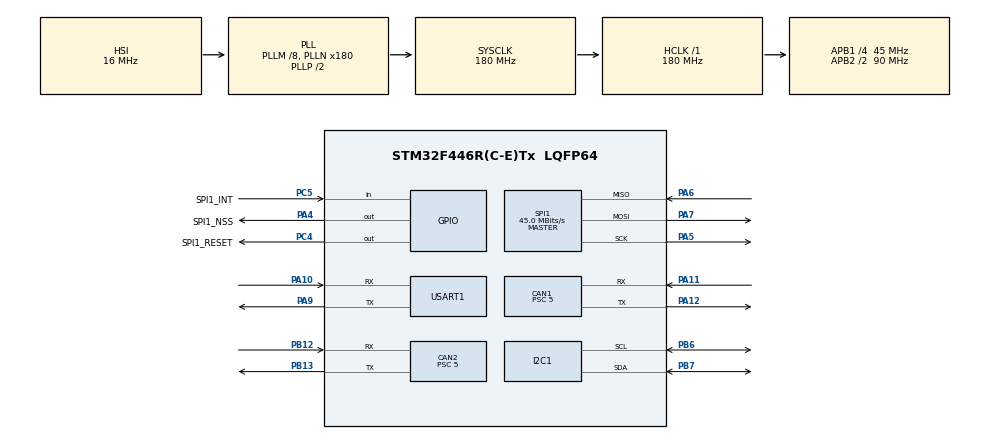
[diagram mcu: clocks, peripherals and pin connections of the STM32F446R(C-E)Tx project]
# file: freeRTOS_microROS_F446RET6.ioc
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CAN1.ABOM=ENABLE
CAN1.AWUM=ENABLE
CAN1.BS1=CAN_BS1_5TQ
CAN1.BS2=CAN_BS2_3TQ
CAN1.CalculateBaudRate=1000000
CAN1.CalculateTimeBit=1000
CAN1.CalculateTimeQuantum=111.11111111111111
CAN1.NART=DISABLE
CAN1.Prescaler=5
CAN1.RFLM=DISABLE
CAN1.SJW=CAN_SJW_4TQ
CAN2.ABOM=ENABLE
CAN2.AWUM=ENABLE
CAN2.BS1=CAN_BS1_5TQ
CAN2.BS2=CAN_BS2_3TQ
CAN2.CalculateBaudRate=1000000
CAN2.CalculateTimeBit=1000
CAN2.CalculateTimeQuantum=111.11111111111111
CAN2.Prescaler=5
CAN2.RFLM=DISABLE
CAN2.SJW=CAN_SJW_4TQ
Dma.I2C1_RX.3.Direction=DMA_PERIPH_TO_MEMORY
Dma.I2C1_RX.3.FIFOMode=DMA_FIFOMODE_DISABLE
Dma.I2C1_RX.3.Instance=DMA1_Stream0
Dma.I2C1_RX.3.MemDataAlignment=DMA_MDATAALIGN_BYTE
Dma.I2C1_RX.3.MemInc=DMA_MINC_ENABLE
Dma.I2C1_RX.3.Mode=DMA_CIRCULAR
Dma.I2C1_RX.3.PeriphDataAlignment=DMA_PDATAALIGN_BYTE
Dma.I2C1_RX.3.PeriphInc=DMA_PINC_DISABLE
Dma.I2C1_RX.3.Priority=DMA_PRIORITY_LOW
Dma.I2C1_TX.4.Direction=DMA_MEMORY_TO_PERIPH
Dma.I2C1_TX.4.FIFOMode=DMA_FIFOMODE_DISABLE
Dma.I2C1_TX.4.Instance=DMA1_Stream6
Dma.I2C1_TX.4.MemDataAlignment=DMA_MDATAALIGN_BYTE
Dma.I2C1_TX.4.MemInc=DMA_MINC_ENABLE
Dma.I2C1_TX.4.Mode=DMA_CIRCULAR
Dma.I2C1_TX.4.PeriphDataAlignment=DMA_PDATAALIGN_BYTE
Dma.I2C1_TX.4.PeriphInc=DMA_PINC_DISABLE
Dma.I2C1_TX.4.Priority=DMA_PRIORITY_LOW
Dma.Request0=SPI1_RX
Dma.Request1=SPI1_TX
Dma.Request2=USART1_RX
Dma.Request3=I2C1_RX
Dma.Request4=I2C1_TX
Dma.SPI1_RX.0.Direction=DMA_PERIPH_TO_MEMORY
Dma.SPI1_RX.0.FIFOMode=DMA_FIFOMODE_DISABLE
Dma.SPI1_RX.0.Instance=DMA2_Stream0
Dma.SPI1_RX.0.MemDataAlignment=DMA_MDATAALIGN_BYTE
Dma.SPI1_RX.0.MemInc=DMA_MINC_ENABLE
Dma.SPI1_RX.0.Mode=DMA_NORMAL
Dma.SPI1_RX.0.PeriphDataAlignment=DMA_PDATAALIGN_BYTE
Dma.SPI1_RX.0.PeriphInc=DMA_PINC_DISABLE
Dma.SPI1_RX.0.Priority=DMA_PRIORITY_VERY_HIGH
Dma.SPI1_TX.1.Direction=DMA_MEMORY_TO_PERIPH
Dma.SPI1_TX.1.FIFOMode=DMA_FIFOMODE_DISABLE
Dma.SPI1_TX.1.Instance=DMA2_Stream3
Dma.SPI1_TX.1.MemDataAlignment=DMA_MDATAALIGN_BYTE
Dma.SPI1_TX.1.MemInc=DMA_MINC_ENABLE
Dma.SPI1_TX.1.Mode=DMA_NORMAL
Dma.SPI1_TX.1.PeriphDataAlignment=DMA_PDATAALIGN_BYTE
Dma.SPI1_TX.1.PeriphInc=DMA_PINC_DISABLE
Dma.SPI1_TX.1.Priority=DMA_PRIORITY_VERY_HIGH
Dma.USART1_RX.2.Direction=DMA_PERIPH_TO_MEMORY
Dma.USART1_RX.2.FIFOMode=DMA_FIFOMODE_DISABLE
Dma.USART1_RX.2.Instance=DMA2_Stream2
Dma.USART1_RX.2.MemDataAlignment=DMA_MDATAALIGN_BYTE
Dma.USART1_RX.2.MemInc=DMA_MINC_ENABLE
Dma.USART1_RX.2.Mode=DMA_CIRCULAR
Dma.USART1_RX.2.PeriphDataAlignment=DMA_PDATAALIGN_BYTE
Dma.USART1_RX.2.PeriphInc=DMA_PINC_DISABLE
Dma.USART1_RX.2.Priority=DMA_PRIORITY_MEDIUM
FREERTOS.Tasks01=nulltask,24,128,StartNullTask,Default,NULL,Dynamic,NULL,NULL
FREERTOS.configENABLE_FPU=1
FREERTOS.configUSE_NEWLIB_REENTRANT=1
Mcu.Family=STM32F4
Mcu.Name=STM32F446R(C-E)Tx
Mcu.Package=LQFP64
NVIC.CAN1_RX0_IRQn=true\:5\:0\:false\:false\:true\:true\:true\:true\:true
NVIC.CAN1_RX1_IRQn=true\:5\:0\:false\:false\:true\:true\:true\:true\:true
NVIC.CAN1_SCE_IRQn=true\:5\:0\:false\:false\:true\:true\:true\:true\:true
NVIC.CAN1_TX_IRQn=true\:5\:0\:false\:false\:true\:true\:true\:true\:true
NVIC.CAN2_RX0_IRQn=true\:5\:0\:false\:false\:true\:true\:true\:true\:true
NVIC.CAN2_RX1_IRQn=true\:5\:0\:false\:false\:true\:true\:true\:true\:true
NVIC.CAN2_SCE_IRQn=true\:5\:0\:false\:false\:true\:true\:true\:true\:true
NVIC.CAN2_TX_IRQn=true\:5\:0\:false\:false\:true\:true\:true\:true\:true
NVIC.DMA1_Stream0_IRQn=true\:5\:0\:false\:false\:true\:true\:false\:true\:true
NVIC.DMA1_Stream6_IRQn=true\:5\:0\:false\:false\:true\:true\:false\:true\:true
NVIC.DMA2_Stream0_IRQn=true\:5\:0\:false\:false\:true\:true\:false\:true\:true
NVIC.DMA2_Stream2_IRQn=true\:5\:0\:false\:false\:true\:true\:false\:true\:true
NVIC.DMA2_Stream3_IRQn=true\:5\:0\:false\:false\:true\:true\:false\:true\:true
NVIC.I2C1_ER_IRQn=true\:5\:0\:false\:false\:true\:true\:true\:true\:true
NVIC.I2C1_EV_IRQn=true\:5\:0\:false\:false\:true\:true\:true\:true\:true
NVIC.PriorityGroup=NVIC_PRIORITYGROUP_4
NVIC.SPI1_IRQn=true\:5\:0\:false\:false\:true\:true\:true\:true\:true
NVIC.TIM1_UP_TIM10_IRQn=true\:15\:0\:false\:false\:true\:false\:false\:true\:true
NVIC.TimeBase=TIM1_UP_TIM10_IRQn
NVIC.TimeBaseIP=TIM1
NVIC.USART1_IRQn=true\:5\:0\:false\:false\:true\:true\:false\:true\:true
PA10.Mode=Asynchronous
PA10.Signal=USART1_RX
PA11.Mode=CAN_Activate
PA11.Signal=CAN1_RX
PA12.Mode=CAN_Activate
PA12.Signal=CAN1_TX
PA13.Mode=Serial_Wire
PA13.Signal=SYS_JTMS-SWDIO
PA14.Mode=Serial_Wire
PA14.Signal=SYS_JTCK-SWCLK
PA4.GPIO_Label=SPI1_NSS
PA4.Signal=GPIO_Output
PA5.Mode=Full_Duplex_Master
PA5.Signal=SPI1_SCK
PA6.Mode=Full_Duplex_Master
PA6.Signal=SPI1_MISO
PA7.Mode=Full_Duplex_Master
PA7.Signal=SPI1_MOSI
PA9.Mode=Asynchronous
PA9.Signal=USART1_TX
PB12.Mode=CAN_Activate
PB12.Signal=CAN2_RX
PB13.Mode=CAN_Activate
PB13.Signal=CAN2_TX
PB6.Mode=I2C
PB6.Signal=I2C1_SCL
PB7.Mode=I2C
PB7.Signal=I2C1_SDA
PC4.GPIO_Label=SPI1_RESET
PC4.Signal=GPIO_Output
PC5.GPIO_Label=SPI1_INT
PC5.Signal=GPIO_Input
PH0-OSC_IN.Mode=HSE-External-Oscillator
PH0-OSC_IN.Signal=RCC_OSC_IN
PH1-OSC_OUT.Mode=HSE-External-Oscillator
PH1-OSC_OUT.Signal=RCC_OSC_OUT
ProjectManager.HeapSize=0x200
ProjectManager.StackSize=0x400
ProjectManager.TargetToolchain=STM32CubeIDE
RCC.AHBFreq_Value=180000000
RCC.APB1CLKDivider=RCC_HCLK_DIV4
RCC.APB1Freq_Value=45000000
RCC.APB1TimFreq_Value=90000000
RCC.APB2CLKDivider=RCC_HCLK_DIV2
RCC.APB2Freq_Value=90000000
RCC.APB2TimFreq_Value=180000000
RCC.CortexFreq_Value=180000000
RCC.HCLKFreq_Value=180000000
RCC.PLLM=8
RCC.PLLN=180
RCC.SYSCLKFreq_VALUE=180000000
RCC.SYSCLKSource=RCC_SYSCLKSOURCE_PLLCLK
RCC.USBFreq_Value=180000000
RCC.VCOOutputFreq_Value=360000000
SPI1.CalculateBaudRate=45.0 MBits/s
SPI1.Direction=SPI_DIRECTION_2LINES
SPI1.Mode=SPI_MODE_MASTER
SPI1.VirtualType=VM_MASTER
USART1.VirtualMode=VM_ASYNC
VP_CRC_VS_CRC.Mode=CRC_Activate
VP_FREERTOS_VS_CMSIS_V2.Mode=CMSIS_V2
VP_SYS_VS_tim1.Mode=TIM1
board=custom

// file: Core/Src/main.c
/* USER CODE BEGIN Header */
/**
 ******************************************************************************
 * @file           : main.c
 * @brief          : Main program body
 ******************************************************************************
 * @attention
 *
 * Copyright (c) 2025 STMicroelectronics.
 * All rights reserved.
 *
 * This software is licensed under terms that can be found in the LICENSE file
 * in the root directory of this software component.
 * If no LICENSE file comes with this software, it is provided AS-IS.
 *
 ******************************************************************************
 */
/* USER CODE END Header */
#include "main.h"
#include "cmsis_os.h"
#include "can.h"
#include "crc.h"
#include "dma.h"
#include "i2c.h"
#include "spi.h"
#include "usart.h"
#include "gpio.h"

/* USER CODE BEGIN Includes */
#include <string.h>
#include <stdlib.h>
#include <stdbool.h>
/* USER CODE END Includes */

void SystemClock_Config(void);
void MX_FREERTOS_Init(void);

/* USER CODE BEGIN 0 */
void SaveMotorToSlot(uint8_t motor_idx, uint8_t slot);
void LoadMotorFromSlot(uint8_t motor_idx, uint8_t slot);
void LoadAllCurrentSlots(void);
void SaveAllCurrentSlots(void);
void InitSlotsFromTemplate(void);
static MotorSlot_t slots[NUM_SLOTS][NUM_MOTORS];
static bool slot_initialized[NUM_SLOTS][NUM_MOTORS];

static const MotorSlot_t slot_template[NUM_SLOTS][NUM_MOTORS] =
		{
// slot 0 (Угол скорость ток)
				{
				/* motor 0 (1_1) */{ .kp_angle = 4000, .ki_angle = 4000,
						.kd_angle = 10, .kp_speed = 5, .ki_speed = 5, .kp_curr =
								50, .ki_curr = 3000, .obstacle = 0,
						.speed_limit = 127, .phase = 0, .set_zero = 0 },
				/* motor 1 (1_2) */{ .kp_angle = 4000, .ki_angle = 4000,
						.kd_angle = 10, .kp_speed = 5, .ki_speed = 5, .kp_curr =
								50, .ki_curr = 3000, .obstacle = 0,
						.speed_limit = 127, .phase = 0, .set_zero = 0 },
				/* motor 2 (2_1) */{ .kp_angle = 4000, .ki_angle = 4000,
						.kd_angle = 10, .kp_speed = 5, .ki_speed = 5, .kp_curr =
								50, .ki_curr = 3000, .obstacle = 0,
						.speed_limit = 127, .phase = 0, .set_zero = 0 },
				/* motor 3 (2_2) */{ .kp_angle = 4000, .ki_angle = 4000,
						.kd_angle = 10, .kp_speed = 5, .ki_speed = 5, .kp_curr =
								50, .ki_curr = 3000, .obstacle = 0,
						.speed_limit = 127, .phase = 0, .set_zero = 0 },
				/* motor 4 (3_1) */{ .kp_angle = 4000, .ki_angle = 4000,
						.kd_angle = 10, .kp_speed = 5, .ki_speed = 5, .kp_curr =
								50, .ki_curr = 3000, .obstacle = 0,
						.speed_limit = 127, .phase = 0, .set_zero = 0 },
				/* motor 5 (3_2) */{ .kp_angle = 4000, .ki_angle = 4000,
						.kd_angle = 10, .kp_speed = 5, .ki_speed = 5, .kp_curr =
								50, .ki_curr = 3000, .obstacle = 0,
						.speed_limit = 127, .phase = 0, .set_zero = 0 } },

				// slot 1 ((Угол скорость )
				{
				/* motor 0 (1_1) */{ .kp_angle = 1000, .ki_angle = 2000,
						.kd_angle = 1, .kp_speed = 1, .ki_speed = 1, .kp_curr =
								0, .ki_curr = 0, .obstacle = 0, .speed_limit =
								127, .phase = 0, .set_zero = 0 },
				/* motor 1 (1_2) */{ .kp_angle = 1000, .ki_angle = 2000,
						.kd_angle = 1, .kp_speed = 1, .ki_speed = 1, .kp_curr =
								0, .ki_curr = 0, .obstacle = 0, .speed_limit =
								127, .phase = 0, .set_zero = 0 },
				/* motor 2 (2_1) */{ .kp_angle = 1000, .ki_angle = 2000,
						.kd_angle = 1, .kp_speed = 1, .ki_speed = 1, .kp_curr =
								0, .ki_curr = 0, .obstacle = 0, .speed_limit =
								127, .phase = 0, .set_zero = 0 },
				/* motor 3 (2_2) */{ .kp_angle = 1000, .ki_angle = 2000,
						.kd_angle = 1, .kp_speed = 1, .ki_speed = 1, .kp_curr =
								0, .ki_curr = 0, .obstacle = 0, .speed_limit =
								127, .phase = 0, .set_zero = 0 },
				/* motor 4 (3_1) */{ .kp_angle = 1000, .ki_angle = 2000,
						.kd_angle = 1, .kp_speed = 1, .ki_speed = 1, .kp_curr =
								0, .ki_curr = 0, .obstacle = 0, .speed_limit =
								127, .phase = 0, .set_zero = 0 },
				/* motor 5 (3_2) */{ .kp_angle = 1000, .ki_angle = 2000,
						.kd_angle = 1, .kp_speed = 1, .ki_speed = 1, .kp_curr =
								0, .ki_curr = 0, .obstacle = 0, .speed_limit =
								127, .phase = 0, .set_zero = 0 } },
				// slot 2 ((Угол ток )
				{
				/* motor 0 (1_1) */{ .kp_angle = 100, .ki_angle = 400,
						.kd_angle = 1, .kp_speed = 0, .ki_speed = 0, .kp_curr =
								5, .ki_curr = 300, .obstacle = 0, .speed_limit =
								127, .phase = 0, .set_zero = 0 },
				/* motor 1 (1_2) */{ .kp_angle = 100, .ki_angle = 400,
						.kd_angle = 1, .kp_speed = 0, .ki_speed = 0, .kp_curr =
								5, .ki_curr = 300, .obstacle = 0, .speed_limit =
								127, .phase = 0, .set_zero = 0 },
				/* motor 2 (2_1) */{ .kp_angle = 100, .ki_angle = 400,
						.kd_angle = 1, .kp_speed = 0, .ki_speed = 0, .kp_curr =
								5, .ki_curr = 300, .obstacle = 0, .speed_limit =
								127, .phase = 0, .set_zero = 0 },
				/* motor 3 (2_2) */{ .kp_angle = 100, .ki_angle = 400,
						.kd_angle = 1, .kp_speed = 0, .ki_speed = 0, .kp_curr =
								5, .ki_curr = 300, .obstacle = 0, .speed_limit =
								127, .phase = 0, .set_zero = 0 },
				/* motor 4 (3_1) */{ .kp_angle = 100, .ki_angle = 400,
						.kd_angle = 1, .kp_speed = 0, .ki_speed = 0, .kp_curr =
								5, .ki_curr = 300, .obstacle = 0, .speed_limit =
								127, .phase = 0, .set_zero = 0 },
				/* motor 5 (3_2) */{ .kp_angle = 100, .ki_angle = 400,
						.kd_angle = 1, .kp_speed = 0, .ki_speed = 0, .kp_curr =
								5, .ki_curr = 300, .obstacle = 0, .speed_limit =
								127, .phase = 0, .set_zero = 0 } },
				// slot 3 ((Угол)
				{
				/* motor 0 (1_1) */{ .kp_angle = 400, .ki_angle = 4000,
						.kd_angle = 40, .kp_speed = 0, .ki_speed = 0, .kp_curr =
								0, .ki_curr = 0, .obstacle = 0, .speed_limit =
								127, .phase = 0, .set_zero = 0 },
				/* motor 1 (1_2) */{ .kp_angle = 400, .ki_angle = 4000,
						.kd_angle = 40, .kp_speed = 0, .ki_speed = 0, .kp_curr =
								0, .ki_curr = 0, .obstacle = 0, .speed_limit =
								127, .phase = 0, .set_zero = 0 },
				/* motor 2 (2_1) */{ .kp_angle = 400, .ki_angle = 4000,
						.kd_angle = 40, .kp_speed = 0, .ki_speed = 0, .kp_curr =
								0, .ki_curr = 0, .obstacle = 0, .speed_limit =
								127, .phase = 0, .set_zero = 0 },
				/* motor 3 (2_2) */{ .kp_angle = 400, .ki_angle = 4000,
						.kd_angle = 40, .kp_speed = 0, .ki_speed = 0, .kp_curr =
								0, .ki_curr = 0, .obstacle = 0, .speed_limit =
								127, .phase = 0, .set_zero = 0 },
				/* motor 4 (3_1) */{ .kp_angle = 400, .ki_angle = 4000,
						.kd_angle = 40, .kp_speed = 0, .ki_speed = 0, .kp_curr =
								0, .ki_curr = 0, .obstacle = 0, .speed_limit =
								127, .phase = 0, .set_zero = 0 },
				/* motor 5 (3_2) */{ .kp_angle = 400, .ki_angle = 4000,
						.kd_angle = 40, .kp_speed = 0, .ki_speed = 0, .kp_curr =
								0, .ki_curr = 0, .obstacle = 0, .speed_limit =
								127, .phase = 0, .set_zero = 0 } },
				// slot 4 ((Скорость ток)
				{
				/* motor 0 (1_1) */{ .kp_angle = 0, .ki_angle = 0,
						.kd_angle = 0, .kp_speed = 1, .ki_speed = 1, .kp_curr =
								5, .ki_curr = 300, .obstacle = 0, .speed_limit =
								127, .phase = 0, .set_zero = 0 },
				/* motor 1 (1_2) */{ .kp_angle = 0, .ki_angle = 0,
						.kd_angle = 0, .kp_speed = 1, .ki_speed = 1, .kp_curr =
								5, .ki_curr = 300, .obstacle = 0, .speed_limit =
								127, .phase = 0, .set_zero = 0 },
				/* motor 2 (2_1) */{ .kp_angle = 0, .ki_angle = 0,
						.kd_angle = 0, .kp_speed = 1, .ki_speed = 1, .kp_curr =
								5, .ki_curr = 300, .obstacle = 0, .speed_limit =
								127, .phase = 0, .set_zero = 0 },
				/* motor 3 (2_2) */{ .kp_angle = 0, .ki_angle = 0,
						.kd_angle = 0, .kp_speed = 1, .ki_speed = 1, .kp_curr =
								5, .ki_curr = 300, .obstacle = 0, .speed_limit =
								127, .phase = 0, .set_zero = 0 },
				/* motor 4 (3_1) */{ .kp_angle = 0, .ki_angle = 0,
						.kd_angle = 0, .kp_speed = 1, .ki_speed = 1, .kp_curr =
								5, .ki_curr = 300, .obstacle = 0, .speed_limit =
								127, .phase = 0, .set_zero = 0 },
				/* motor 5 (3_2) */{ .kp_angle = 0, .ki_angle = 0,
						.kd_angle = 0, .kp_speed = 1, .ki_speed = 1, .kp_curr =
								5, .ki_curr = 300, .obstacle = 0, .speed_limit =
								127, .phase = 0, .set_zero = 0 } },
				// slot 5 (Скорость)
				{
				/* motor 0 (1_1) */{ .kp_angle = 0, .ki_angle = 0,
						.kd_angle = 0, .kp_speed = 1, .ki_speed = 1, .kp_curr =
								0, .ki_curr = 0, .obstacle = 0, .speed_limit =
								127, .phase = 0, .set_zero = 0 },
				/* motor 1 (1_2) */{ .kp_angle = 0, .ki_angle = 0,
						.kd_angle = 0, .kp_speed = 1, .ki_speed = 1, .kp_curr =
								0, .ki_curr = 0, .obstacle = 0, .speed_limit =
								127, .phase = 0, .set_zero = 0 },
				/* motor 2 (2_1) */{ .kp_angle = 0, .ki_angle = 0,
						.kd_angle = 0, .kp_speed = 1, .ki_speed = 1, .kp_curr =
								0, .ki_curr = 0, .obstacle = 0, .speed_limit =
								127, .phase = 0, .set_zero = 0 },
				/* motor 3 (2_2) */{ .kp_angle = 0, .ki_angle = 0,
						.kd_angle = 0, .kp_speed = 1, .ki_speed = 1, .kp_curr =
								0, .ki_curr = 0, .obstacle = 0, .speed_limit =
								127, .phase = 0, .set_zero = 0 },
				/* motor 4 (3_1) */{ .kp_angle = 0, .ki_angle = 0,
						.kd_angle = 0, .kp_speed = 1, .ki_speed = 1, .kp_curr =
								0, .ki_curr = 0, .obstacle = 0, .speed_limit =
								127, .phase = 0, .set_zero = 0 },
				/* motor 5 (3_2) */{ .kp_angle = 0, .ki_angle = 0,
						.kd_angle = 0, .kp_speed = 1, .ki_speed = 1, .kp_curr =
								0, .ki_curr = 0, .obstacle = 0, .speed_limit =
								127, .phase = 0, .set_zero = 0 } },
				// slot 6 (Ток)
				{/* motor 0 (1_1) */{ .kp_angle = 0, .ki_angle = 0, .kd_angle =
						0, .kp_speed = 1, .ki_speed = 1, .kp_curr = 5,
						.ki_curr = 1000, .obstacle = 0, .speed_limit = 127,
						.phase = 0, .set_zero = 0 },
				/* motor 1 (1_2) */{ .kp_angle = 0, .ki_angle = 0,
						.kd_angle = 0, .kp_speed = 1, .ki_speed = 1, .kp_curr =
								5, .ki_curr = 1000, .obstacle = 0,
						.speed_limit = 127, .phase = 0, .set_zero = 0 },
				/* motor 2 (2_1) */{ .kp_angle = 0, .ki_angle = 0,
						.kd_angle = 0, .kp_speed = 1, .ki_speed = 1, .kp_curr =
								5, .ki_curr = 1000, .obstacle = 0,
						.speed_limit = 127, .phase = 0, .set_zero = 0 },
				/* motor 3 (2_2) */{ .kp_angle = 0, .ki_angle = 0,
						.kd_angle = 0, .kp_speed = 1, .ki_speed = 1, .kp_curr =
								5, .ki_curr = 1000, .obstacle = 0,
						.speed_limit = 127, .phase = 0, .set_zero = 0 },
				/* motor 4 (3_1) */{ .kp_angle = 0, .ki_angle = 0,
						.kd_angle = 0, .kp_speed = 1, .ki_speed = 1, .kp_curr =
								5, .ki_curr = 1000, .obstacle = 0,
						.speed_limit = 127, .phase = 0, .set_zero = 0 },
				/* motor 5 (3_2) */{ .kp_angle = 0, .ki_angle = 0,
						.kd_angle = 0, .kp_speed = 1, .ki_speed = 1, .kp_curr =
								5, .ki_curr = 1000, .obstacle = 0,
						.speed_limit = 127, .phase = 0, .set_zero = 0 } } };

// not to transmit
CAN_TxHeaderTypeDef *const TxHdrs1[Q_LEN] = { &TxAngles1, &TxCoeffs1_1,
		&TxCoeffs1_2, &TxCoeffs1_3, &TxCoeffs1_4, &TxCoeffs1_5, &TxCoeffs1_6,
		&TxCoeffs1_7, &TxOther1 };
uint8_t *const TxDats1[Q_LEN] = { TxDataAngles1, TxDataCoeffs1_1,
		TxDataCoeffs1_2, TxDataCoeffs1_3, TxDataCoeffs1_4, TxDataCoeffs1_5,
		TxDataCoeffs1_6, TxDataCoeffs1_7, TxDataOther1 };

CAN_TxHeaderTypeDef *const TxHdrs2[Q_LEN] = { &TxAngles2, &TxCoeffs2_1,
		&TxCoeffs2_2, &TxCoeffs2_3, &TxCoeffs2_4, &TxCoeffs2_5, &TxCoeffs2_6,
		&TxCoeffs2_7, &TxOther2 };
uint8_t *const TxDats2[Q_LEN] = { TxDataAngles2, TxDataCoeffs2_1,
		TxDataCoeffs2_2, TxDataCoeffs2_3, TxDataCoeffs2_4, TxDataCoeffs2_5,
		TxDataCoeffs2_6, TxDataCoeffs2_7, TxDataOther2 };

CAN_TxHeaderTypeDef *const TxHdrs3[Q_LEN] = { &TxAngles3, &TxCoeffs3_1,
		&TxCoeffs3_2, &TxCoeffs3_3, &TxCoeffs3_4, &TxCoeffs3_5, &TxCoeffs3_6,
		&TxCoeffs3_7, &TxOther3 };

uint8_t *const TxDats3[Q_LEN] = { TxDataAngles3, TxDataCoeffs3_1,
		TxDataCoeffs3_2, TxDataCoeffs3_3, TxDataCoeffs3_4, TxDataCoeffs3_5,
		TxDataCoeffs3_6, TxDataCoeffs3_7, TxDataOther3 };

static inline void ProcessQueue(CAN_HandleTypeDef *hcan, uint8_t *queue,
		CAN_TxHeaderTypeDef *const hdrs[], uint8_t *const dats[], size_t len,
		uint32_t *mailbox) {
	Prepare_set_angles();
	Prepare_set_koeffs();
	if (HAL_CAN_GetTxMailboxesFreeLevel(hcan) > 0) {
		HAL_CAN_AddTxMessage(hcan, hdrs[*queue], dats[*queue], mailbox);
		*queue = (*queue + 1) % len;
	}
}
////////////////////////////////////////////////////////////////////////
/* USER CODE END 0 */

int main(void) {

	/* MCU Configuration--------------------------------------------------------*/

	/* Reset of all peripherals, Initializes the Flash interface and the Systick. */
	HAL_Init();

	/* Configure the system clock */
	SystemClock_Config();

	/* Initialize all configured peripherals */
	MX_GPIO_Init();
	MX_DMA_Init();
	MX_CAN1_Init();
	MX_CAN2_Init();
	MX_SPI1_Init();
	MX_USART1_UART_Init();
	MX_CRC_Init();
	MX_I2C1_Init();
	/* USER CODE BEGIN 2 */
	W5500_Init();
	reset_all_variables_to_zero();
	InitSlotsFromTemplate();
	Prepare_set_angles();
	Prepare_set_koeffs();
//	prepare_frames();
//	HAL_CAN_Start(&hcan1);
//	HAL_CAN_Start(&hcan2);
//	HAL_CAN_ActivateNotification(&hcan1,
//			CAN_IT_TX_MAILBOX_EMPTY | CAN_IT_ERROR | CAN_IT_RX_FIFO0_MSG_PENDING
//					| CAN_IT_RX_FIFO1_MSG_PENDING);
//	HAL_CAN_ActivateNotification(&hcan2,
//	CAN_IT_TX_MAILBOX_EMPTY | CAN_IT_ERROR | CAN_IT_RX_FIFO0_MSG_PENDING);
//
//	HAL_CAN_AddTxMessage(&hcan1, &TxAngles1, TxDataAngles1, &mailbox);
//	HAL_CAN_AddTxMessage(&hcan2, &TxAngles3, TxDataAngles3, &mailbox1);

	/* USER CODE END 2 */

	/* Init scheduler */
	osKernelInitialize();

	/* Call init function for freertos objects (in cmsis_os2.c) */
	MX_FREERTOS_Init();

	/* Start scheduler */
	osKernelStart();

	/* We should never get here as control is now taken by the scheduler */

	/* Infinite loop */
	while (1) {

	}
}

void SystemClock_Config(void) {
	RCC_OscInitTypeDef RCC_OscInitStruct = { 0 };
	RCC_ClkInitTypeDef RCC_ClkInitStruct = { 0 };

	/** Configure the main internal regulator output voltage
	 */
	__HAL_RCC_PWR_CLK_ENABLE();
	__HAL_PWR_VOLTAGESCALING_CONFIG(PWR_REGULATOR_VOLTAGE_SCALE1);

	/** Initializes the RCC Oscillators according to the specified parameters
	 * in the RCC_OscInitTypeDef structure.
	 */
	RCC_OscInitStruct.OscillatorType = RCC_OSCILLATORTYPE_HSI;
	RCC_OscInitStruct.HSIState = RCC_HSI_ON;
	RCC_OscInitStruct.HSICalibrationValue = RCC_HSICALIBRATION_DEFAULT;
	RCC_OscInitStruct.PLL.PLLState = RCC_PLL_ON;
	RCC_OscInitStruct.PLL.PLLSource = RCC_PLLSOURCE_HSI;
	RCC_OscInitStruct.PLL.PLLM = 8;
	RCC_OscInitStruct.PLL.PLLN = 180;
	RCC_OscInitStruct.PLL.PLLP = RCC_PLLP_DIV2;
	RCC_OscInitStruct.PLL.PLLQ = 2;
	RCC_OscInitStruct.PLL.PLLR = 2;
	if (HAL_RCC_OscConfig(&RCC_OscInitStruct) != HAL_OK) {
		Error_Handler();
	}

	/** Activate the Over-Drive mode
	 */
	if (HAL_PWREx_EnableOverDrive() != HAL_OK) {
		Error_Handler();
	}

	/** Initializes the CPU, AHB and APB buses clocks
	 */
	RCC_ClkInitStruct.ClockType = RCC_CLOCKTYPE_HCLK | RCC_CLOCKTYPE_SYSCLK
			| RCC_CLOCKTYPE_PCLK1 | RCC_CLOCKTYPE_PCLK2;
	RCC_ClkInitStruct.SYSCLKSource = RCC_SYSCLKSOURCE_PLLCLK;
	RCC_ClkInitStruct.AHBCLKDivider = RCC_SYSCLK_DIV1;
	RCC_ClkInitStruct.APB1CLKDivider = RCC_HCLK_DIV4;
	RCC_ClkInitStruct.APB2CLKDivider = RCC_HCLK_DIV2;

	if (HAL_RCC_ClockConfig(&RCC_ClkInitStruct, FLASH_LATENCY_5) != HAL_OK) {
		Error_Handler();
	}
}

/* USER CODE BEGIN 4 */
void StartCanTask(void *argument) {
	LoadAllCurrentSlots();

	uint8_t prev[NUM_MOTORS];

	prev[0] = (uint8_t) system_type1_1;
	prev[1] = (uint8_t) system_type1_2;
	prev[2] = (uint8_t) system_type2_1;
	prev[3] = (uint8_t) system_type2_2;
	prev[4] = (uint8_t) system_type3_1;
	prev[5] = (uint8_t) system_type3_2;

	for (;;) {
		if (ros_new_coeffs_flag) {
			SaveAllCurrentSlots();
			ros_new_coeffs_flag = 0;
		}
		uint8_t cur0 = (uint8_t) system_type1_1;
		if (cur0 != prev[0]) {
			if (prev[0] < NUM_SLOTS)
				SaveMotorToSlot(0, prev[0]);
			if (cur0 < NUM_SLOTS)
				LoadMotorFromSlot(0, cur0);
			prev[0] = cur0;
		}

		uint8_t cur1 = (uint8_t) system_type1_2;
		if (cur1 != prev[1]) {
			if (prev[1] < NUM_SLOTS)
				SaveMotorToSlot(1, prev[1]);
			if (cur1 < NUM_SLOTS)
				LoadMotorFromSlot(1, cur1);
			prev[1] = cur1;
		}

		uint8_t cur2 = (uint8_t) system_type2_1;
		if (cur2 != prev[2]) {
			if (prev[2] < NUM_SLOTS)
				SaveMotorToSlot(2, prev[2]);
			if (cur2 < NUM_SLOTS)
				LoadMotorFromSlot(2, cur2);
			prev[2] = cur2;
		}

		uint8_t cur3 = (uint8_t) system_type2_2;
		if (cur3 != prev[3]) {
			if (prev[3] < NUM_SLOTS)
				SaveMotorToSlot(3, prev[3]);
			if (cur3 < NUM_SLOTS)
				LoadMotorFromSlot(3, cur3);
			prev[3] = cur3;
		}

		uint8_t cur4 = (uint8_t) system_type3_1;
		if (cur4 != prev[4]) {
			if (prev[4] < NUM_SLOTS)
				SaveMotorToSlot(4, prev[4]);
			if (cur4 < NUM_SLOTS)
				LoadMotorFromSlot(4, cur4);
			prev[4] = cur4;
		}

		uint8_t cur5 = (uint8_t) system_type3_2;
		if (cur5 != prev[5]) {
			if (prev[5] < NUM_SLOTS)
				SaveMotorToSlot(5, prev[5]);
			if (cur5 < NUM_SLOTS)
				LoadMotorFromSlot(5, cur5);
			prev[5] = cur5;
		}

		if (flag_of_tx == 1 && flag_of_rx == 2) {
			if (HAL_CAN_GetTxMailboxesFreeLevel(&hcan1) > 0) {
				flag_of_tx = flag_of_rx = 0;
				ProcessQueue(&hcan1, &queue1, TxHdrs1, TxDats1, Q_LEN,
						&mailbox);
			}
		} else if (flag_of_tx == 1 && flag_of_rx == 1) {
			if (HAL_CAN_GetTxMailboxesFreeLevel(&hcan1) > 0) {
				flag_of_tx = flag_of_rx = 0;
				ProcessQueue(&hcan1, &queue2, TxHdrs2, TxDats2, Q_LEN,
						&mailbox);
			}
		}
		if (flag_of_tx_1 == 1 && flag_of_rx_1 == 1) {
			if (HAL_CAN_GetTxMailboxesFreeLevel(&hcan2) > 0) {
				flag_of_tx_1 = flag_of_rx_1 = 0;
				ProcessQueue(&hcan2, &queue3, TxHdrs3, TxDats3, Q_LEN,
						&mailbox1);
			}
		}

		CheckBusIdleAndRestart();
		osDelay(1);
	}
}

void SaveMotorToSlot(uint8_t motor_idx, uint8_t slot) {
	if (slot >= NUM_SLOTS || motor_idx >= NUM_MOTORS)
		return;

	MotorSlot_t tmp;
	switch (motor_idx) {
	case 0: // 1_1
		tmp.kp_angle = kp_angle_1_1;
		tmp.ki_angle = ki_angle_1_1;
		tmp.kd_angle = kd_angle_1_1;
		tmp.kp_speed = kp_speed_1_1;
		tmp.ki_speed = ki_speed_1_1;
		tmp.kp_curr = kp_curr_1_1;
		tmp.ki_curr = ki_curr_1_1;
		tmp.obstacle = obstacle1_1;
		tmp.speed_limit = speed_limit1_1;
		tmp.phase = phase1_1;
		tmp.set_zero = set_zero;
		break;
	case 1: // 1_2
		tmp.kp_angle = kp_angle_1_2;
		tmp.ki_angle = ki_angle_1_2;
		tmp.kd_angle = kd_angle_1_2;
		tmp.kp_speed = kp_speed_1_2;
		tmp.ki_speed = ki_speed_1_2;
		tmp.kp_curr = kp_curr_1_2;
		tmp.ki_curr = ki_curr_1_2;
		tmp.obstacle = obstacle1_2;
		tmp.speed_limit = speed_limit1_2;
		tmp.phase = phase1_2;
		tmp.set_zero = set_zero;
		break;
	case 2: // 2_1
		tmp.kp_angle = kp_angle_2_1;
		tmp.ki_angle = ki_angle_2_1;
		tmp.kd_angle = kd_angle_2_1;
		tmp.kp_speed = kp_speed_2_1;
		tmp.ki_speed = ki_speed_2_1;
		tmp.kp_curr = kp_curr_2_1;
		tmp.ki_curr = ki_curr_2_1;
		tmp.obstacle = obstacle2_1;
		tmp.speed_limit = speed_limit2_1;
		tmp.phase = phase2_1;
		tmp.set_zero = set_zero;
		break;
	case 3: // 2_2
		tmp.kp_angle = kp_angle_2_2;
		tmp.ki_angle = ki_angle_2_2;
		tmp.kd_angle = kd_angle_2_2;
		tmp.kp_speed = kp_speed_2_2;
		tmp.ki_speed = ki_speed_2_2;
		tmp.kp_curr = kp_curr_2_2;
		tmp.ki_curr = ki_curr_2_2;
		tmp.obstacle = obstacle2_2;
		tmp.speed_limit = speed_limit2_2;
		tmp.phase = phase2_2;
		tmp.set_zero = set_zero;
		break;
	case 4: // 3_1
		tmp.kp_angle = kp_angle_3_1;
		tmp.ki_angle = ki_angle_3_1;
		tmp.kd_angle = kd_angle_3_1;
		tmp.kp_speed = kp_speed_3_1;
		tmp.ki_speed = ki_speed_3_1;
		tmp.kp_curr = kp_curr_3_1;
		tmp.ki_curr = ki_curr_3_1;
		tmp.obstacle = obstacle3_1;
		tmp.speed_limit = speed_limit3_1;
		tmp.phase = phase3_1;
		tmp.set_zero = set_zero;
		break;
	case 5: // 3_2
		tmp.kp_angle = kp_angle_3_2;
		tmp.ki_angle = ki_angle_3_2;
		tmp.kd_angle = kd_angle_3_2;
		tmp.kp_speed = kp_speed_3_2;
		tmp.ki_speed = ki_speed_3_2;
		tmp.kp_curr = kp_curr_3_2;
		tmp.ki_curr = ki_curr_3_2;
		tmp.obstacle = obstacle3_2;
		tmp.speed_limit = speed_limit3_2;
		tmp.phase = phase3_2;
		tmp.set_zero = set_zero;
		break;
	default:
		return;
	}

	slots[slot][motor_idx] = tmp;
	slot_initialized[slot][motor_idx] = true;
}
void LoadMotorFromSlot(uint8_t motor_idx, uint8_t slot) {
	MotorSlot_t tmp;

	if (slot >= NUM_SLOTS || motor_idx >= NUM_MOTORS)
		return;

	if (slot_initialized[slot][motor_idx]) {
		tmp = slots[slot][motor_idx];
	} else {
		tmp = slot_template[slot][motor_idx];
	}
	switch (motor_idx) {
	case 0:
		kp_angle_1_1 = tmp.kp_angle;
		ki_angle_1_1 = tmp.ki_angle;
		kd_angle_1_1 = tmp.kd_angle;
		kp_speed_1_1 = tmp.kp_speed;
		ki_speed_1_1 = tmp.ki_speed;
		kp_curr_1_1 = tmp.kp_curr;
		ki_curr_1_1 = tmp.ki_curr;
		obstacle1_1 = tmp.obstacle;
		speed_limit1_1 = tmp.speed_limit;
		phase1_1 = tmp.phase;
		set_zero = tmp.set_zero;
		break;
	case 1:
		kp_angle_1_2 = tmp.kp_angle;
		ki_angle_1_2 = tmp.ki_angle;
		kd_angle_1_2 = tmp.kd_angle;
		kp_speed_1_2 = tmp.kp_speed;
		ki_speed_1_2 = tmp.ki_speed;
		kp_curr_1_2 = tmp.kp_curr;
		ki_curr_1_2 = tmp.ki_curr;
		obstacle1_2 = tmp.obstacle;
		speed_limit1_2 = tmp.speed_limit;
		phase1_2 = tmp.phase;
		set_zero = tmp.set_zero;
		break;
	case 2:
		kp_angle_2_1 = tmp.kp_angle;
		ki_angle_2_1 = tmp.ki_angle;
		kd_angle_2_1 = tmp.kd_angle;
		kp_speed_2_1 = tmp.kp_speed;
		ki_speed_2_1 = tmp.ki_speed;
		kp_curr_2_1 = tmp.kp_curr;
		ki_curr_2_1 = tmp.ki_curr;
		obstacle2_1 = tmp.obstacle;
		speed_limit2_1 = tmp.speed_limit;
		phase2_1 = tmp.phase;
		set_zero = tmp.set_zero;
		break;
	case 3:
		kp_angle_2_2 = tmp.kp_angle;
		ki_angle_2_2 = tmp.ki_angle;
		kd_angle_2_2 = tmp.kd_angle;
		kp_speed_2_2 = tmp.kp_speed;
		ki_speed_2_2 = tmp.ki_speed;
		kp_curr_2_2 = tmp.kp_curr;
		ki_curr_2_2 = tmp.ki_curr;
		obstacle2_2 = tmp.obstacle;
		speed_limit2_2 = tmp.speed_limit;
		phase2_2 = tmp.phase;
		set_zero = tmp.set_zero;
		break;
	case 4:
		kp_angle_3_1 = tmp.kp_angle;
		ki_angle_3_1 = tmp.ki_angle;
		kd_angle_3_1 = tmp.kd_angle;
		kp_speed_3_1 = tmp.kp_speed;
		ki_speed_3_1 = tmp.ki_speed;
		kp_curr_3_1 = tmp.kp_curr;
		ki_curr_3_1 = tmp.ki_curr;
		obstacle3_1 = tmp.obstacle;
		speed_limit3_1 = tmp.speed_limit;
		phase3_1 = tmp.phase;
		set_zero = tmp.set_zero;
		break;
	case 5:
		kp_angle_3_2 = tmp.kp_angle;
		ki_angle_3_2 = tmp.ki_angle;
		kd_angle_3_2 = tmp.kd_angle;
		kp_speed_3_2 = tmp.kp_speed;
		ki_speed_3_2 = tmp.ki_speed;
		kp_curr_3_2 = tmp.kp_curr;
		ki_curr_3_2 = tmp.ki_curr;
		obstacle3_2 = tmp.obstacle;
		speed_limit3_2 = tmp.speed_limit;
		phase3_2 = tmp.phase;
		set_zero = tmp.set_zero;
		break;
	default:
		break;
	}
}
void LoadAllCurrentSlots(void) {
	LoadMotorFromSlot(0, system_type1_1);
	LoadMotorFromSlot(1, system_type1_2);
	LoadMotorFromSlot(2, system_type2_1);
	LoadMotorFromSlot(3, system_type2_2);
	LoadMotorFromSlot(4, system_type3_1);
	LoadMotorFromSlot(5, system_type3_2);
}
void SaveAllCurrentSlots(void) {
	SaveMotorToSlot(0, system_type1_1);
	SaveMotorToSlot(1, system_type1_2);
	SaveMotorToSlot(2, system_type2_1);
	SaveMotorToSlot(3, system_type2_2);
	SaveMotorToSlot(4, system_type3_1);
	SaveMotorToSlot(5, system_type3_2);
}
void InitSlotsFromTemplate(void) {
	for (uint8_t s = 0; s < NUM_SLOTS; ++s) {
		for (uint8_t m = 0; m < NUM_MOTORS; ++m) {
			slots[s][m] = slot_template[s][m];
			slot_initialized[s][m] = true;
		}
	}
}

void reset_all_variables_to_zero(void) {
	set_angle1_1 = set_angle1_2 = set_angle2_1 = set_angle2_2 = set_angle3_1 =
			set_angle3_2 = 0;
	angle1_1 = angle1_2 = angle2_1 = angle2_2 = angle3_1 = angle3_2 = 0;
	speed1_1 = speed1_2 = speed2_1 = speed2_2 = speed3_1 = speed3_2 = 0;
	current1_1 = current1_2 = current2_1 = current2_2 = current3_1 =
			current3_2 = 0;
	obstacle1_1 = obstacle1_2 = obstacle2_1 = obstacle2_2 = obstacle3_1 =
			obstacle3_2 = 0;
	speed_limit1_1 = speed_limit1_2 = speed_limit2_1 = speed_limit2_2 =
			speed_limit3_1 = speed_limit3_2 = 85;
	phase1_1 = phase1_2 = phase2_1 = phase2_2 = phase3_1 = phase3_2 = 0;
	kp_angle_1_1 = kp_angle_1_2 = kp_angle_2_1 = kp_angle_2_2 = kp_angle_3_1 =
			kp_angle_3_2 = 0;
	ki_angle_1_1 = ki_angle_1_2 = ki_angle_2_1 = ki_angle_2_2 = ki_angle_3_1 =
			ki_angle_3_2 = 0;
	kd_angle_1_1 = kd_angle_1_2 = kd_angle_2_1 = kd_angle_2_2 = kd_angle_3_1 =
			kd_angle_3_2 = 0;
	kp_speed_1_1 = kp_speed_1_2 = kp_speed_2_1 = kp_speed_2_2 = kp_speed_3_1 =
			kp_speed_3_2 = 0;
	ki_speed_1_1 = ki_speed_1_2 = ki_speed_2_1 = ki_speed_2_2 = ki_speed_3_1 =
			ki_speed_3_2 = 0;
	kp_curr_1_1 = kp_curr_1_2 = kp_curr_2_1 = kp_curr_2_2 = kp_curr_3_1 =
			kp_curr_3_2 = 0;
	ki_curr_1_1 = ki_curr_1_2 = ki_curr_2_1 = ki_curr_2_2 = ki_curr_3_1 =
			ki_curr_3_2 = 0;
}

int __io_putchar(int ch) {
	HAL_UART_Transmit(&huart1, (uint8_t*) &ch, 1, HAL_MAX_DELAY);
	return ch;
}
/* USER CODE END 4 */

void HAL_TIM_PeriodElapsedCallback(TIM_HandleTypeDef *htim) {
	if (htim->Instance == TIM1) {
		HAL_IncTick();
	}
}

void Error_Handler(void) {
	__disable_irq();
	while (1) {
	}
}

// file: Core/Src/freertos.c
/* USER CODE BEGIN Header */
/**
 ******************************************************************************
 * File Name          : freertos.c
 * Description        : Code for freertos applications
 ******************************************************************************
 * @attention
 *
 * Copyright (c) 2025 STMicroelectronics.
 * All rights reserved.
 *
 * This software is licensed under terms that can be found in the LICENSE file
 * in the root directory of this software component.
 * If no LICENSE file comes with this software, it is provided AS-IS.
 *
 ******************************************************************************
 */
/* USER CODE END Header */

#include "FreeRTOS.h"
#include "task.h"
#include "main.h"
#include "cmsis_os.h"

/* USER CODE BEGIN Includes */
#include <rcl/rcl.h>
#include <rcl/error_handling.h>
#include <rclc/rclc.h>
#include <rclc/executor.h>
#include <uxr/client/transport.h>
#include <rmw_microxrcedds_c/config.h>
#include <rmw_microros/rmw_microros.h>

#include "std_msgs/msg/int32_multi_array.h"

#include "stdbool.h"
#include "usart.h"
#include "spi.h"
/* USER CODE END Includes */

/* USER CODE BEGIN PTD */
typedef StaticTask_t osStaticThreadDef_t;
/* USER CODE END PTD */

/* USER CODE BEGIN Variables */
osThreadId_t defaultTaskHandle;
osThreadId_t canTaskHandle;
osThreadId_t odometryTaskHandle;
osStaticThreadDef_t rosTaskControlBlock;
uint32_t rosTaskBuffer[8000];

const osThreadAttr_t rosTask_attributes = { .name = "rosTask", .cb_mem =
		&rosTaskControlBlock, .cb_size = sizeof(rosTaskControlBlock),
		.stack_mem = &rosTaskBuffer[0], .stack_size = sizeof(rosTaskBuffer),
		.priority = (osPriority_t) osPriorityAboveNormal, };

const osThreadAttr_t canTask_attributes = { .name = "canTask", .stack_size = 512
		* 4, .priority = (osPriority_t) osPriorityAboveNormal, };

const osThreadAttr_t odometryTask_attributes = { .name = "odometryTask", .stack_size = 512
		* 4, .priority = (osPriority_t) osPriorityAboveNormal2, };

enum {
	KP_ANGLE, KI_ANGLE, KD_ANGLE, KP_SPEED, KI_SPEED, KP_CURRENT, KI_CURRENT
};

/* USER CODE END Variables */
/* Definitions for nulltask */

void StartNullTask(void *argument);

void MX_FREERTOS_Init(void); /* (MISRA C 2004 rule 8.1) */

void MX_FREERTOS_Init(void) {

  /* Create the thread(s) */
  /* creation of nulltask */

  /* USER CODE BEGIN RTOS_THREADS */
	odometryTaskHandle = osThreadNew(StartOdometryTask, NULL, &odometryTask_attributes);
//	canTaskHandle = osThreadNew(StartCanTask, NULL, &canTask_attributes);
	osThreadNew(StartRosTask, NULL, &rosTask_attributes);

	/* add threads, ... */
  /* USER CODE END RTOS_THREADS */

}

void StartNullTask(void *argument)
{
}
